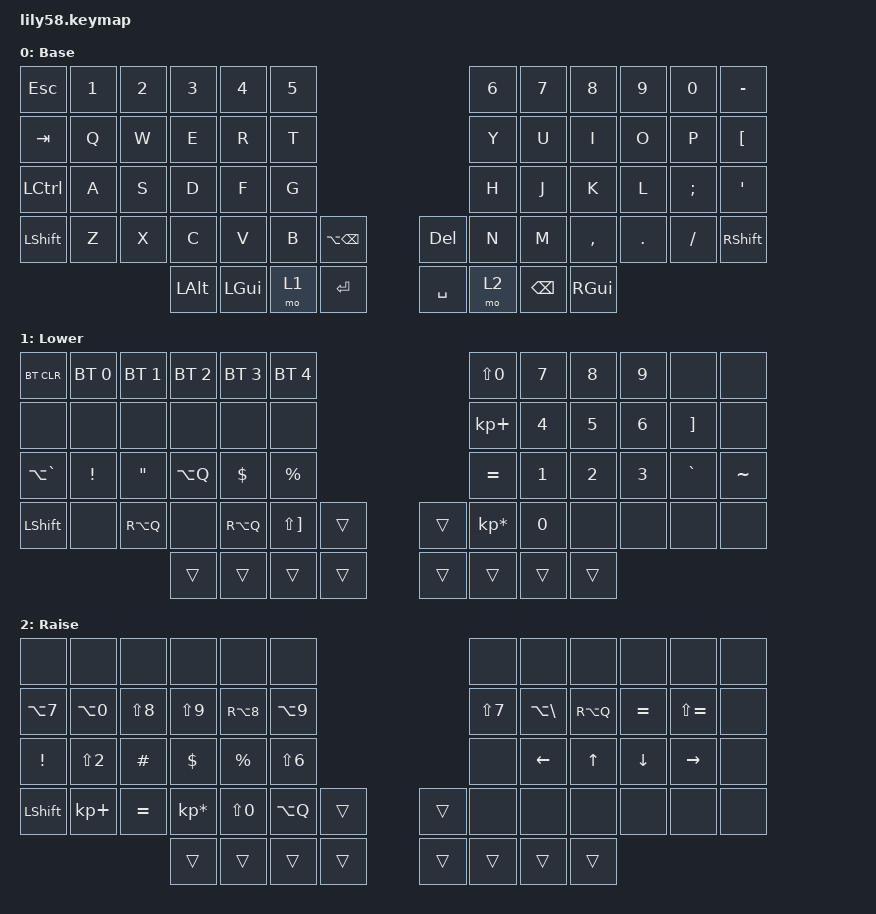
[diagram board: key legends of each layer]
/*
 * Copyright (c) 2020 The ZMK Contributors
 *
 * SPDX-License-Identifier: MIT
 */

#include <behaviors.dtsi>
#include <dt-bindings/zmk/bt.h>
#include <dt-bindings/zmk/keys.h>

/ {
    keymap {
        compatible = "zmk,keymap";

        default_layer {
            // ------------------------------------------------------------------------------------------------------------
            // |  ESC  |  1  |  2  |  3   |  4   |  5   |                   |  6   |  7    |  8    |  9   |   0   |   `   |
            // |  TAB  |  Q  |  W  |  E   |  R   |  T   |                   |  Y   |  U    |  I    |  O   |   P   |  "["  |
            // |  CTRL |  A  |  S  |  D   |  F   |  G   |                   |  H   |  J    |  K    |  L   |   ;   |   '   |
            // | SHIFT |  Z  |  X  |  C   |  V   |  B   |     |  |  "]"  |  N   |  M    |  ,    |  .   |   /   | SHIFT |
            //                     | ALT  | GUI  | LOWER| ENTER   |  | SPACE | RAISE| BSPC  | GUI   |

            display-name = "Base";
            bindings = <
&kp ESC    &kp N1  &kp N2  &kp N3    &kp N4    &kp N5                                  &kp N6  &kp N7    &kp N8     &kp N9   &kp N0    &kp MINUS
&kp TAB    &kp Q   &kp W   &kp E     &kp R     &kp T                                   &kp Y   &kp U     &kp I      &kp O    &kp P     &kp LBKT
&kp LCTRL  &kp A   &kp S   &kp D     &kp F     &kp G                                   &kp H   &kp J     &kp K      &kp L    &kp SEMI  &kp SQT
&kp LSHFT  &kp Z   &kp X   &kp C     &kp V     &kp B   &kp LA(BACKSPACE)    &kp DEL    &kp N   &kp M     &kp COMMA  &kp DOT  &kp FSLH  &kp RIGHT_SHIFT
                           &kp LALT  &kp LGUI  &mo 1   &kp RET              &kp SPACE  &mo 2   &kp BSPC  &kp RGUI
            >;
        };

        lower_layer {
            // ------------------------------------------------------------------------------------------------------------
            // | BTCLR | BT1 | BT2 |  BT3 |  BT4 |  BT5 |                   |      |       |       |      |       |       |
            // |  F1   |  F2 |  F3 |  F4  |  F5  |  F6  |                   |  F7  |  F8   |  F9   |  F10 |  F11  |  F12  |
            // |   `   |  !  |  @  |  #   |  $   |  %   |                   |  ^   |  &    |  *    |  (   |   )   |   ~   |
            // |       |     |     |      |      |      |        |  |       |      |  _    |  +    |  {   |   }   |  "|"  |
            //                     |      |      |      |        |  |       |      |       |       |

            display-name = "Lower";
            bindings = <
&bt BT_CLR      &bt BT_SEL 0  &bt BT_SEL 1       &bt BT_SEL 2  &bt BT_SEL 3  &bt BT_SEL 4                             &kp LS(N0)       &kp N7        &kp N8        &kp N9        &none              &none
&none           &none         &none              &none         &none         &none                                    &kp KP_PLUS      &kp NUMBER_4  &kp N5        &kp NUMBER_6  &kp RIGHT_BRACKET  &none
&kp LA(GRAVE)   &kp EXCL      &kp DOUBLE_QUOTES  &kp LA(Q)     &kp DOLLAR    &kp PRCNT                                &kp EQUAL        &kp NUMBER_1  &kp NUMBER_2  &kp NUMBER_3  &kp GRAVE          &kp TILDE
&kp LEFT_SHIFT  &none         &kp RA(Q)          &none         &kp RA(Q)     &kp LS(RIGHT_BRACKET)  &trans    &trans  &kp KP_MULTIPLY  &kp NUMBER_0  &none         &none         &none              &none
                                                 &trans        &trans        &trans                 &trans    &trans  &trans           &trans        &trans
            >;
        };

        raise_layer {
            // ------------------------------------------------------------------------------------------------------------
            // |       |     |     |      |      |      |                   |      |       |       |      |       |       |
            // |   `   |  1  |  2  |  3   |  4   |  5   |                   |  6   |   7   |   8   |  9   |   0   |       |
            // |   F1  |  F2 |  F3 |  F4  |  F5  |  F6  |                   |      |   <-  |   v   |  ^   |  ->   |       |
            // |   F7  |  F8 |  F9 |  F10 |  F11 |  F12 |        |  |       |  +   |   -   |   =   |  [   |   ]   |   \   |
            //                     |      |      |      |        |  |       |      |       |       |

            display-name = "Raise";
            bindings = <
&none           &none             &none       &none            &none       &none                               &none       &none              &none      &none      &none          &none
&kp LA(N7)      &kp LA(N0)        &kp LS(N8)  &kp LS(N9)       &kp RA(N8)  &kp LA(N9)                          &kp LS(N7)  &kp LA(BACKSLASH)  &kp RA(Q)  &kp EQUAL  &kp LS(EQUAL)  &none
&kp EXCL        &kp LS(NUMBER_2)  &kp HASH    &kp DOLLAR       &kp PRCNT   &kp LS(NUMBER_6)                    &none       &kp LEFT           &kp UP     &kp DOWN   &kp RIGHT      &none
&kp LEFT_SHIFT  &kp KP_PLUS       &kp EQUAL   &kp KP_MULTIPLY  &kp LS(N0)  &kp LA(Q)         &trans    &trans  &none       &none              &none      &none      &none          &none
                                              &trans           &trans      &trans            &trans    &trans  &trans      &trans             &trans
            >;
        };
    };
};
